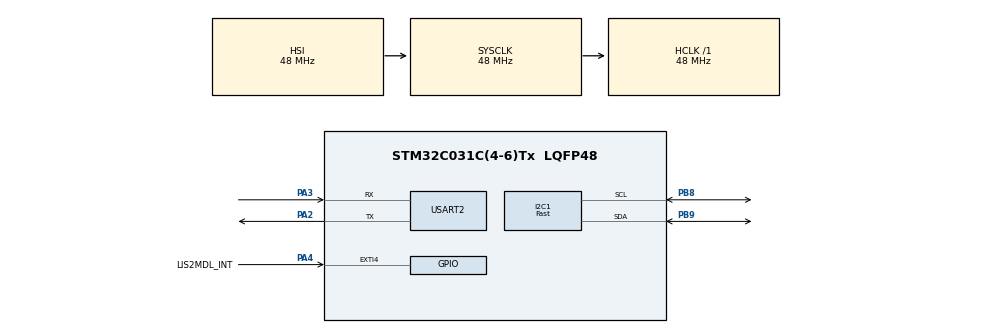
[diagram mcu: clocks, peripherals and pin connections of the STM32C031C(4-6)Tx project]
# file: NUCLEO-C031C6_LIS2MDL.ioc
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I2C1.I2C_Speed_Mode=I2C_Fast
I2C1.Timing=0x2010091A
Mcu.Family=STM32C0
Mcu.Name=STM32C031C(4-6)Tx
Mcu.Package=LQFP48
NVIC.EXTI4_15_IRQn=true\:0\:0\:false\:false\:true\:true\:true\:true
PA2.Mode=Asynchronous
PA2.Signal=USART2_TX
PA3.Mode=Asynchronous
PA3.Signal=USART2_RX
PA4.GPIO_Label=LIS2MDL_INT
PA4.Signal=GPXTI4
PB8.GPIO_FM8=SYSCFG_FASTMODEPLUS_PB8
PB8.GPIO_Speed=GPIO_SPEED_FREQ_VERY_HIGH
PB8.Mode=I2C
PB8.Signal=I2C1_SCL
PB9.GPIO_FM9=SYSCFG_FASTMODEPLUS_PB9
PB9.GPIO_Speed=GPIO_SPEED_FREQ_VERY_HIGH
PB9.Mode=I2C
PB9.Signal=I2C1_SDA
ProjectManager.HeapSize=0x200
ProjectManager.StackSize=0x400
ProjectManager.TargetToolchain=STM32CubeIDE
RCC.ADCFreq_Value=48000000
RCC.AHBFreq_Value=48000000
RCC.CortexFreq_Value=48000000
RCC.EXTERNAL_CLOCK_VALUE=12288000
RCC.HCLKFreq_Value=48000000
RCC.HSE_VALUE=48000000
RCC.HSISYSCLKDivider=RCC_HSI_DIV1
RCC.HSI_VALUE=48000000
RCC.LSE_VALUE=32768
RCC.SYSCLKFreq_VALUE=48000000
USART2.VirtualMode-Asynchronous=VM_ASYNC
board=NUCLEO-C031C6

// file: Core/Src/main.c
/* USER CODE BEGIN Header */
/**
  ******************************************************************************
  * @file           : main.c
  * @brief          : Main program body
  ******************************************************************************
  * @attention
  *
  * Copyright (c) 2023 STMicroelectronics.
  * All rights reserved.
  *
  * This software is licensed under terms that can be found in the LICENSE file
  * in the root directory of this software component.
  * If no LICENSE file comes with this software, it is provided AS-IS.
  *
  ******************************************************************************
  */
/* USER CODE END Header */
#include "main.h"

/* USER CODE BEGIN Includes */
#include <string.h>
#include <stdio.h>
#include "lis2mdl_reg.h"
#include "NanoEdgeAI.h"

/* USER CODE END Includes */

/* USER CODE BEGIN PD */
/************************************************************ NEAI algorithm defines begin ************************************************************/
/************************************************************ Global settings part ************************************************************/
#ifndef AXIS
  #define AXIS              3                   /* Axis should be defined between 1 and 3 */
#endif
#ifndef SAMPLES
  #define SAMPLES           128                 /* Should be between 16 & 256 */
#endif
/************************************************************ Sensors configuration part ************************************************************/
#ifndef MAGNETOMETER_ODR
  #define MAGNETOMETER_ODR  LIS2MDL_ODR_100Hz   /* Shoud be between LIS2MDL_ODR_10Hz and LIS2MDL_ODR_100Hz */
#endif
/************************************************************ Datalogger / NEAI mode part ************************************************************/
#ifndef NEAI_MODE
  #define NEAI_MODE         0                   /* 0: Datalogger mode, 1: NEAI functions mode */
#endif
#if (NEAI_MODE == 1)
  #ifndef NEAI_LEARN_NB
    #define NEAI_LEARN_NB   20                  /* Number of buffers to be learn by the NEAI library */
  #endif
#endif
/************************************************************ NEAI algorithm defines end ************************************************************/
/* USER CODE END PD */

I2C_HandleTypeDef hi2c1;

UART_HandleTypeDef huart2;

/* USER CODE BEGIN PV */
static int16_t data_raw_magnetic[3];
static uint8_t whoamI, rst;
uint8_t neai_similarity = 0, neai_state = 0;
volatile uint8_t drdy = 0;
uint16_t neai_cnt = 0, drdy_counter = 0;
float neai_buffer[AXIS * SAMPLES] = {0};
stmdev_ctx_t dev_ctx;

/* USER CODE END PV */

void SystemClock_Config(void);
static void MX_GPIO_Init(void);
static void MX_I2C1_Init(void);
static void MX_USART2_UART_Init(void);
/* USER CODE BEGIN PFP */
static int32_t platform_write(void *handle, uint8_t reg, const uint8_t *bufp, uint16_t len);
static int32_t platform_read(void *handle, uint8_t reg, uint8_t *bufp, uint16_t len);
static void lis2mdl_initialize(void);
static void iks01a3_i2c_stuck_quirk(void);
static void print_float(float float_input);

/* USER CODE END PFP */

int main(void)
{
  /* USER CODE BEGIN 1 */
  /* Initialize mems driver interface */
  dev_ctx.write_reg = platform_write;
  dev_ctx.read_reg = platform_read;
  dev_ctx.handle = &hi2c1;
  /* USER CODE END 1 */

  /* MCU Configuration--------------------------------------------------------*/

  /* Reset of all peripherals, Initializes the Flash interface and the Systick. */
  HAL_Init();

  /* Configure the system clock */
  SystemClock_Config();

  /* USER CODE BEGIN SysInit */
  iks01a3_i2c_stuck_quirk();
  /* USER CODE END SysInit */

  /* Initialize all configured peripherals */
  MX_GPIO_Init();
  MX_I2C1_Init();
  MX_USART2_UART_Init();
  /* USER CODE BEGIN 2 */
  lis2mdl_initialize();
  if (NEAI_MODE) {
    neai_state = neai_anomalydetection_init();
    printf("Initialize NEAI library. NEAI init return: %d.\n",  neai_state);
  }
  /* USER CODE END 2 */

  /* Infinite loop */
  /* USER CODE BEGIN WHILE */
  while (1)
  {
    if (drdy) {
      /* Reset data ready condition */
      drdy = 0;
      /* Read magnetic field data */
      memset(data_raw_magnetic, 0x00, 3 * sizeof(int16_t));
      lis2mdl_magnetic_raw_get(&dev_ctx, data_raw_magnetic);
      for (uint8_t i = 0; i < AXIS; i++) {
        neai_buffer[(AXIS * drdy_counter) + i] = lis2mdl_from_lsb_to_mgauss(data_raw_magnetic[i]);
      }
      drdy_counter++;
      if (drdy_counter >= SAMPLES) {
        /* Set device in power down mode */
        lis2mdl_operating_mode_set(&dev_ctx, LIS2MDL_POWER_DOWN);
#if NEAI_MODE
        if (neai_cnt < NEAI_LEARN_NB) {
          neai_cnt++;
          neai_state = neai_anomalydetection_learn(neai_buffer);
          printf("Learn: %d / %d. NEAI learn return: %d.\n", neai_cnt, NEAI_LEARN_NB, neai_state);
        }
        else {
          neai_state = neai_anomalydetection_detect(neai_buffer, &neai_similarity);
          printf("Similarity: %d / 100. NEAI detect return: %d.\n", neai_similarity, neai_state);
        }
#else
        for (uint16_t i = 0; i < AXIS * SAMPLES; i++) {
          print_float(neai_buffer[i]);
        }
        printf("\n");
#endif
        /* Reset drdy_counter in order to get a new buffer */
        drdy_counter = 0;
        /* Clean neai buffer */
        memset(neai_buffer, 0x00, AXIS * SAMPLES * sizeof(float));
        /* Set device in continuous mode */
        lis2mdl_operating_mode_set(&dev_ctx, LIS2MDL_CONTINUOUS_MODE);
        HAL_Delay(20);
      }
    }
    /* USER CODE END WHILE */

  }
}

void SystemClock_Config(void)
{
  RCC_OscInitTypeDef RCC_OscInitStruct = {0};
  RCC_ClkInitTypeDef RCC_ClkInitStruct = {0};

  /** Initializes the RCC Oscillators according to the specified parameters
  * in the RCC_OscInitTypeDef structure.
  */
  RCC_OscInitStruct.OscillatorType = RCC_OSCILLATORTYPE_HSI;
  RCC_OscInitStruct.HSIState = RCC_HSI_ON;
  RCC_OscInitStruct.HSIDiv = RCC_HSI_DIV1;
  RCC_OscInitStruct.HSICalibrationValue = RCC_HSICALIBRATION_DEFAULT;
  if (HAL_RCC_OscConfig(&RCC_OscInitStruct) != HAL_OK)
  {
    Error_Handler();
  }

  /** Initializes the CPU, AHB and APB buses clocks
  */
  RCC_ClkInitStruct.ClockType = RCC_CLOCKTYPE_HCLK|RCC_CLOCKTYPE_SYSCLK
                              |RCC_CLOCKTYPE_PCLK1;
  RCC_ClkInitStruct.SYSCLKSource = RCC_SYSCLKSOURCE_HSI;
  RCC_ClkInitStruct.SYSCLKDivider = RCC_SYSCLK_DIV1;
  RCC_ClkInitStruct.AHBCLKDivider = RCC_HCLK_DIV1;
  RCC_ClkInitStruct.APB1CLKDivider = RCC_APB1_DIV1;

  if (HAL_RCC_ClockConfig(&RCC_ClkInitStruct, FLASH_LATENCY_1) != HAL_OK)
  {
    Error_Handler();
  }
}

static void MX_I2C1_Init(void)
{

  hi2c1.Instance = I2C1;
  hi2c1.Init.Timing = 0x2010091A;
  hi2c1.Init.OwnAddress1 = 0;
  hi2c1.Init.AddressingMode = I2C_ADDRESSINGMODE_7BIT;
  hi2c1.Init.DualAddressMode = I2C_DUALADDRESS_DISABLE;
  hi2c1.Init.OwnAddress2 = 0;
  hi2c1.Init.OwnAddress2Masks = I2C_OA2_NOMASK;
  hi2c1.Init.GeneralCallMode = I2C_GENERALCALL_DISABLE;
  hi2c1.Init.NoStretchMode = I2C_NOSTRETCH_DISABLE;
  if (HAL_I2C_Init(&hi2c1) != HAL_OK)
  {
    Error_Handler();
  }

  /** Configure Analogue filter
  */
  if (HAL_I2CEx_ConfigAnalogFilter(&hi2c1, I2C_ANALOGFILTER_ENABLE) != HAL_OK)
  {
    Error_Handler();
  }

  /** Configure Digital filter
  */
  if (HAL_I2CEx_ConfigDigitalFilter(&hi2c1, 0) != HAL_OK)
  {
    Error_Handler();
  }

}

static void MX_USART2_UART_Init(void)
{

  huart2.Instance = USART2;
  huart2.Init.BaudRate = 115200;
  huart2.Init.WordLength = UART_WORDLENGTH_8B;
  huart2.Init.StopBits = UART_STOPBITS_1;
  huart2.Init.Parity = UART_PARITY_NONE;
  huart2.Init.Mode = UART_MODE_TX_RX;
  huart2.Init.HwFlowCtl = UART_HWCONTROL_NONE;
  huart2.Init.OverSampling = UART_OVERSAMPLING_16;
  huart2.Init.OneBitSampling = UART_ONE_BIT_SAMPLE_DISABLE;
  huart2.Init.ClockPrescaler = UART_PRESCALER_DIV1;
  huart2.AdvancedInit.AdvFeatureInit = UART_ADVFEATURE_NO_INIT;
  if (HAL_UART_Init(&huart2) != HAL_OK)
  {
    Error_Handler();
  }

}

static void MX_GPIO_Init(void)
{
  GPIO_InitTypeDef GPIO_InitStruct = {0};

  /* GPIO Ports Clock Enable */
  __HAL_RCC_GPIOA_CLK_ENABLE();
  __HAL_RCC_GPIOB_CLK_ENABLE();

  /*Configure GPIO pin : LIS2MDL_INT_Pin */
  GPIO_InitStruct.Pin = LIS2MDL_INT_Pin;
  GPIO_InitStruct.Mode = GPIO_MODE_IT_RISING;
  GPIO_InitStruct.Pull = GPIO_NOPULL;
  HAL_GPIO_Init(LIS2MDL_INT_GPIO_Port, &GPIO_InitStruct);

  /* EXTI interrupt init*/
  HAL_NVIC_SetPriority(EXTI4_15_IRQn, 0, 0);
  HAL_NVIC_EnableIRQ(EXTI4_15_IRQn);

}

/* USER CODE BEGIN 4 */
/**
  * @brief  Redirecting stdout to USART2 which is connected on the STLINK port
  * @retval
  * @param
  */
int __io_putchar(int ch)
{
 uint8_t c[1];
 c[0] = ch & 0x00FF;
 HAL_UART_Transmit(&huart2, &*c, 1, 10);
 return ch;
}

/**
  * @brief  EXTI line rising detection callback.
  * @param  GPIO_Pin Specifies the port pin connected to corresponding EXTI line.
  * @retval None
  */
void HAL_GPIO_EXTI_Rising_Callback(uint16_t GPIO_Pin)
{
  switch(GPIO_Pin) {
  case LIS2MDL_INT_Pin:
    drdy = 1;
    break;
  }
}

/*
 * @brief  Write generic device register (platform dependent)
 *
 * @param  handle    customizable argument. In this examples is used in
 *                   order to select the correct sensor bus handler.
 * @param  reg       register to write
 * @param  bufp      pointer to data to write in register reg
 * @param  len       number of consecutive register to write
 *
 */
static int32_t platform_write(void *handle, uint8_t reg, const uint8_t *bufp, uint16_t len)
{
  HAL_I2C_Mem_Write(handle, LIS2MDL_I2C_ADD, reg, I2C_MEMADD_SIZE_8BIT, (uint8_t*) bufp, len, 1000);
  return 0;
}

/*
 * @brief  Read generic device register (platform dependent)
 *
 * @param  handle    customizable argument. In this examples is used in
 *                   order to select the correct sensor bus handler.
 * @param  reg       register to read
 * @param  bufp      pointer to buffer that store the data read
 * @param  len       number of consecutive register to read
 *
 */
static int32_t platform_read(void *handle, uint8_t reg, uint8_t *bufp, uint16_t len)
{
  HAL_I2C_Mem_Read(handle, LIS2MDL_I2C_ADD, reg, I2C_MEMADD_SIZE_8BIT, bufp, len, 1000);
  return 0;
}

/*
 * @brief  Initialize LIS2MDL sensor interface
 *
 * @param  No
 *
 * @return No
 *
 */
static void lis2mdl_initialize()
{
  /* Check device ID */
  whoamI = 0;

  do {
    HAL_Delay(20);
    lis2mdl_device_id_get(&dev_ctx, &whoamI);
  } while(whoamI != LIS2MDL_ID);

  /* Restore default configuration */
  lis2mdl_reset_set(&dev_ctx, PROPERTY_ENABLE);

  do {
    lis2mdl_reset_get(&dev_ctx, &rst);
  } while (rst);

  /* Enable Block Data Update */
  lis2mdl_block_data_update_set(&dev_ctx, PROPERTY_ENABLE);
  /* Set Output Data Rate */
  lis2mdl_data_rate_set(&dev_ctx, MAGNETOMETER_ODR);
  /* Set / Reset sensor mode */
  lis2mdl_set_rst_mode_set(&dev_ctx, LIS2MDL_SENS_OFF_CANC_EVERY_ODR);
  /* Enable temperature compensation */
  lis2mdl_offset_temp_comp_set(&dev_ctx, PROPERTY_ENABLE);
  /* Set device in continuous mode */
  lis2mdl_operating_mode_set(&dev_ctx, LIS2MDL_CONTINUOUS_MODE);
  /* Enable interrupt generation on new data ready */
  lis2mdl_drdy_on_pin_set(&dev_ctx, PROPERTY_ENABLE);
}

/*
 * Pressing the reset button while the sensor is answering to a read request
 * might lead to disaster.
 * In this case the device is stuck, waiting for pulses on SCL to finish the
 * previous transfer.
 * While stuck the sensor keep the SDA low.
 *
 * As a workaround we simply configure the SCL pin as a GPIO and send a burst
 * of pulses to bring the sensor back to an idle state.
 */
static void iks01a3_i2c_stuck_quirk(void)
{
  GPIO_InitTypeDef GPIO_InitStruct = {0};

  /* GPIO Ports Clock Enable */
  __HAL_RCC_GPIOB_CLK_ENABLE();

  /* Configure SCL as a GPIO */
  GPIO_InitStruct.Pin = SCL_PIN;
  GPIO_InitStruct.Mode = GPIO_MODE_OUTPUT_PP;
  GPIO_InitStruct.Pull = GPIO_NOPULL;
  GPIO_InitStruct.Speed = GPIO_SPEED_FREQ_LOW;
  GPIO_InitStruct.Alternate = GPIO_AF6_I2C1;
  HAL_GPIO_Init(SCL_PORT, &GPIO_InitStruct);

  /* Send a burst of pulses on SCL */
  int pulses = 20;
  do {
    HAL_Delay(1);
    HAL_GPIO_WritePin(SCL_PORT, SCL_PIN, GPIO_PIN_RESET);
    HAL_Delay(1);
    HAL_GPIO_WritePin(SCL_PORT, SCL_PIN, GPIO_PIN_SET);
  } while (pulses--);

  /* GPIO Ports Clock Enable */
  __HAL_RCC_GPIOB_CLK_DISABLE();
}

/*
 * @brief  Print float data without using newlib-nano in order to save memory
 *
 * @param  float_input: the data to be print
 *
 * @return No
 *
 */
static void print_float(float float_input)
{
  uint8_t char_nb = 0;
  char float_string[20];
  int32_t integer_res = 0;

  /* If  input is negative */
  if (float_input < 0.0) {
      float_input = -1.0 * float_input;
      putchar('-');
  }

  integer_res = (int32_t) (1000 * float_input);
  char_nb = snprintf(float_string, 20, "%ld", integer_res);

  if (float_input == 0.0) {
    putchar('0');
    putchar('.');
    putchar('0');
  }
  else if (char_nb <= 3) {
    putchar('0');
    putchar('.');
    for (uint8_t i = 0; i < 3 - char_nb; i++) {
      putchar('0');
    }
    for (uint8_t i = 0; i < char_nb; i++) {
      putchar(float_string[i]);
    }
  }
  else {
    for (uint8_t i = 0; i < char_nb - 3; i++) {
      putchar(float_string[i]);
    }
    putchar('.');
    for (uint8_t i = char_nb - 3; i < char_nb; i++) {
      putchar(float_string[i]);
    }
  }
  putchar(' ');
}

/* USER CODE END 4 */

void Error_Handler(void)
{
  __disable_irq();
  while (1)
  {
  }
}
